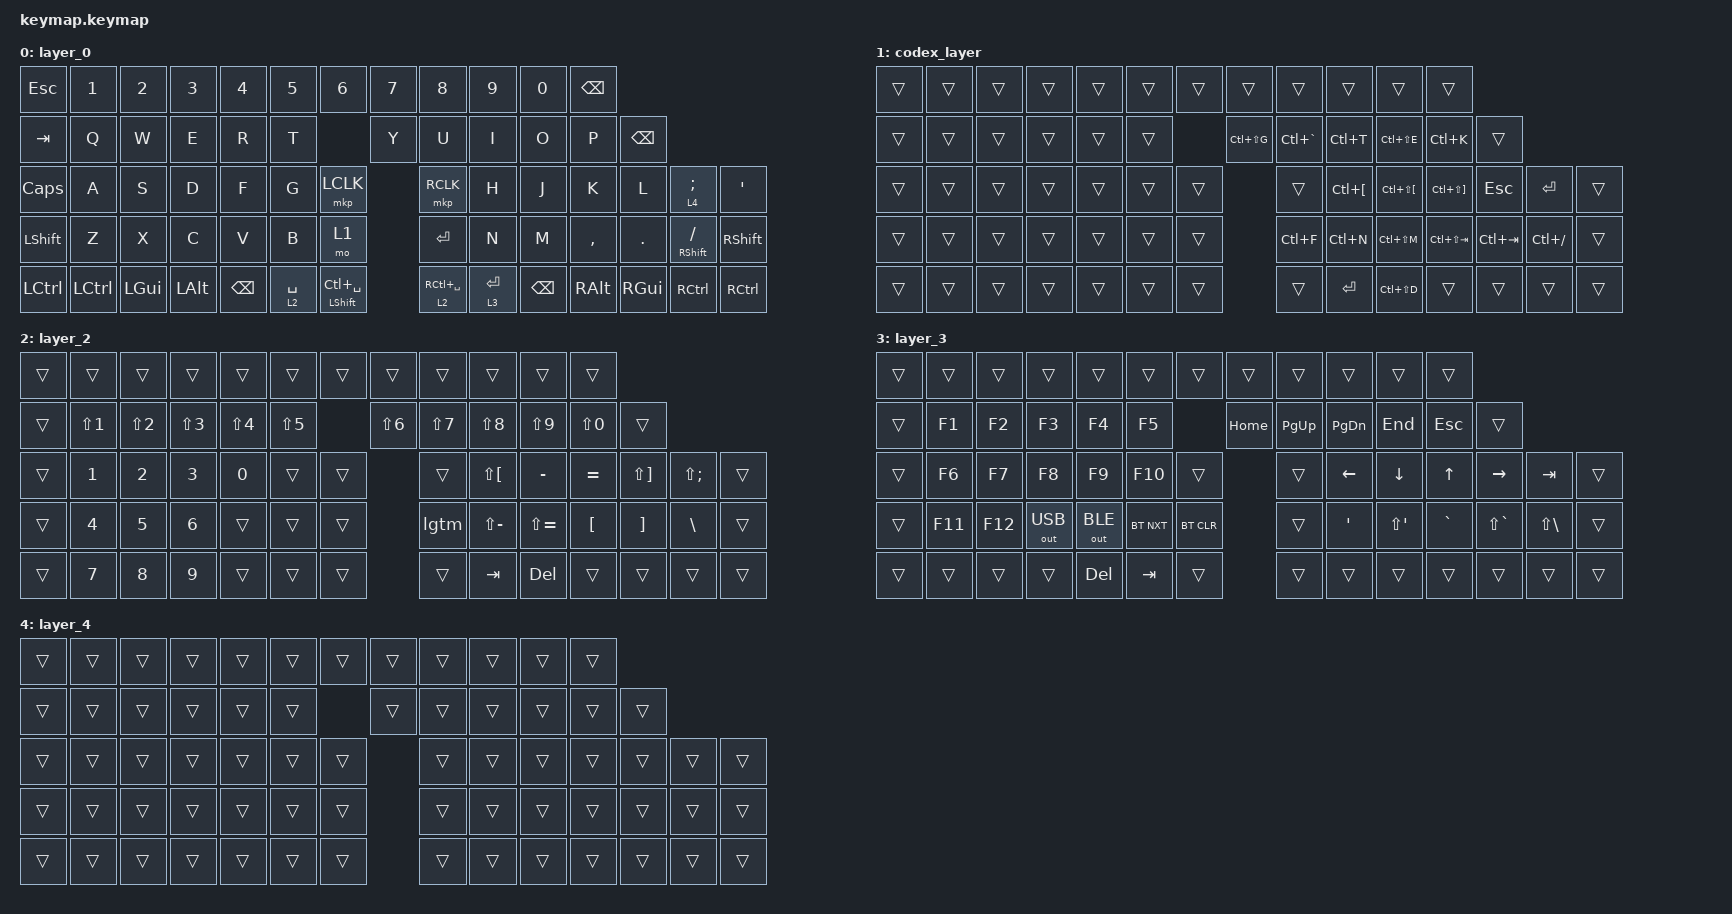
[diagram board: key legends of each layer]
#include <behaviors.dtsi>
#include <dt-bindings/zmk/bt.h>
#include <dt-bindings/zmk/keys.h>
#include <dt-bindings/zmk/outputs.h>
#include <dt-bindings/zmk/pointing.h>

/ {
    behaviors {
        // セミコロン：タップで ;、140msホールド中だけスクロールLayer 4
        scroll_hold: scroll_hold {
            compatible = "zmk,behavior-hold-tap";
            #binding-cells = <2>;
            flavor = "tap-preferred";
            tapping-term-ms = <140>;
            bindings = <&mo>, <&kp>;
        };
    };

    combos {
        compatible = "zmk,combos";

        bt_clear {
            bindings = <&bt BT_CLR>;
            key-positions = <13 14>;
            layers = <2>;
        };

        // Ctrl+Enter：右親指の左側2キー（IME/L2 + L3/Enter）
        combo_ctrl_enter {
            bindings = <&kp LC(ENTER)>;
            key-positions = <38 39>;
            layers = <0>;
            timeout-ms = <50>;
        };

        // === マウス操作コンボ（右手ホームロー隣接） ===
        // timeout-ms を短く、require-prior-idle-ms でタイピング直後の誤爆を防止

        // 左クリック：J + K
        combo_lclk {
            bindings = <&mkp LCLK>;
            key-positions = <16 17>;
            layers = <0 2 3 4>;
            timeout-ms = <40>;
            require-prior-idle-ms = <125>;
        };

        // 右クリック：K + L
        combo_rclk {
            bindings = <&mkp RCLK>;
            key-positions = <17 18>;
            layers = <0 2 3 4>;
            timeout-ms = <40>;
            require-prior-idle-ms = <125>;
        };

        // 戻る（MB4）：H + J
        combo_back {
            bindings = <&mkp MB4>;
            key-positions = <15 16>;
            layers = <0 2 3 4>;
            timeout-ms = <40>;
            require-prior-idle-ms = <125>;
        };

        // 進む（MB5）：, + .
        combo_fwd {
            bindings = <&mkp MB5>;
            key-positions = <29 30>;
            layers = <0 2 3 4>;
            timeout-ms = <40>;
            require-prior-idle-ms = <125>;
        };

    };

    macros {
        compatible = "zmk,macros";

        // "LGTM!!" を一発入力（US配列：Shift押しっぱなしで l g t m 1 1）
        lgtm: lgtm {
            compatible = "zmk,behavior-macro";
            #binding-cells = <0>;
            wait-ms = <5>;
            tap-ms = <5>;
            bindings
                = <&macro_press &kp LSHFT>
                , <&macro_tap &kp L &kp G &kp T &kp M &kp N1 &kp N1>
                , <&macro_release &kp LSHFT>;
        };
    };

    keymap {
        compatible = "zmk,keymap";

        layer_0 {
            bindings = <
                &kp ESC   &kp N1    &kp N2    &kp N3    &kp N4    &kp N5    &kp N6    &kp N7    &kp N8    &kp N9    &kp N0    &kp BSPC
                &kp TAB   &kp Q     &kp W     &kp E     &kp R     &kp T     &kp Y     &kp U     &kp I     &kp O     &kp P     &kp BSPC
                &kp CAPS   &kp A      &kp S      &kp D      &kp F      &kp G      &mkp LCLK  &mkp RCLK  &kp H      &kp J      &kp K      &kp L      &scroll_hold 4 SEMI  &kp SQT
                &kp LSHFT       &kp Z           &kp X           &kp C           &kp V           &kp B           &mo 1           &kp ENTER       &kp N           &kp M           &kp COMMA       &kp DOT         &mt RSHFT FSLH  &kp RSHFT
                &kp LCTRL            &kp LCTRL            &kp LGUI             &kp LALT             &kp BSPC             &lt 2 SPACE          &mt LSHFT LC(SPACE)  &lt 2 RC(SPACE)  &lt 3 ENTER          &kp BSPC             &kp RALT             &kp RGUI             &kp RCTRL            &kp RCTRL
            >;
        };

        // Codexレイヤー：S配列の左手最内側Spaceをホールド中、右手側でCodexを操作
        // Windows版Codex 26.721系の既定ショートカットを使用
        codex_layer {
            bindings = <
                &trans  &trans  &trans  &trans  &trans  &trans  &trans  &trans  &trans  &trans  &trans  &trans
                &trans  &trans  &trans  &trans  &trans  &trans  &kp LC(LS(G))     &kp LC(GRAVE)  &kp LC(T)          &kp LC(LS(E))     &kp LC(K)       &trans
                &trans  &trans  &trans  &trans  &trans  &trans  &trans            &trans          &kp LC(LBKT)       &kp LC(LS(LBKT))  &kp LC(LS(RBKT)) &kp ESC     &kp ENTER       &trans
                &trans  &trans  &trans  &trans  &trans  &trans  &trans            &kp LC(F)       &kp LC(N)          &kp LC(LS(M))     &kp LC(LS(TAB))  &kp LC(TAB)  &kp LC(FSLH)    &trans
                &trans  &trans  &trans  &trans  &trans  &trans  &trans            &trans          &kp ENTER          &kp LC(LS(D))     &trans           &trans      &trans          &trans
            >;
        };

        layer_2 {
            bindings = <
                &trans  &trans  &trans  &trans  &trans  &trans  &trans  &trans  &trans  &trans  &trans  &trans
                &trans      &kp LS(N1)  &kp LS(N2)  &kp LS(N3)  &kp LS(N4)  &kp LS(N5)  &kp LS(N6)  &kp LS(N7)  &kp LS(N8)  &kp LS(N9)  &kp LS(N0)  &trans
                &trans  &kp N1  &kp N2  &kp N3  &kp N0  &trans  &trans  &trans  &kp LS(LBKT)  &kp MINUS  &kp EQUAL  &kp LS(RBKT)  &kp LS(SEMI)  &trans
                &trans  &kp N4  &kp N5  &kp N6  &trans  &trans  &trans  &lgtm  &kp LS(MINUS)  &kp LS(EQUAL)  &kp LBKT  &kp RBKT  &kp BSLH  &trans
                &trans  &kp N7  &kp N8  &kp N9  &trans  &trans  &trans  &trans  &kp TAB  &kp DEL  &trans  &trans  &trans  &trans
            >;
        };

        layer_3 {
            bindings = <
                &trans  &trans  &trans  &trans  &trans  &trans  &trans  &trans  &trans  &trans  &trans  &trans
                &trans     &kp F1     &kp F2     &kp F3     &kp F4     &kp F5     &kp HOME   &kp PG_UP  &kp PG_DN  &kp END    &kp ESC    &trans
                &trans     &kp F6     &kp F7     &kp F8     &kp F9     &kp F10    &trans     &trans     &kp LEFT   &kp DOWN   &kp UP     &kp RIGHT  &kp TAB    &trans
                &trans         &kp F11        &kp F12        &out OUT_USB   &out OUT_BLE   &bt BT_NXT     &bt BT_CLR     &trans         &kp SQT        &kp LS(SQT)    &kp GRAVE      &kp LS(GRAVE)  &kp LS(BSLH)   &trans
                &trans   &trans   &trans   &trans   &kp DEL  &kp TAB  &trans   &trans   &trans   &trans   &trans   &trans   &trans   &trans
            >;
        };

        layer_4 {
            bindings = <
                &trans  &trans  &trans  &trans  &trans  &trans  &trans  &trans  &trans  &trans  &trans  &trans
                &trans  &trans  &trans  &trans  &trans  &trans  &trans  &trans  &trans  &trans  &trans  &trans
                &trans  &trans  &trans  &trans  &trans  &trans  &trans  &trans  &trans  &trans  &trans  &trans  &trans  &trans
                &trans  &trans  &trans  &trans  &trans  &trans  &trans  &trans  &trans  &trans  &trans  &trans  &trans  &trans
                &trans  &trans  &trans  &trans  &trans  &trans  &trans  &trans  &trans  &trans  &trans  &trans  &trans  &trans
            >;
        };

    };
};
